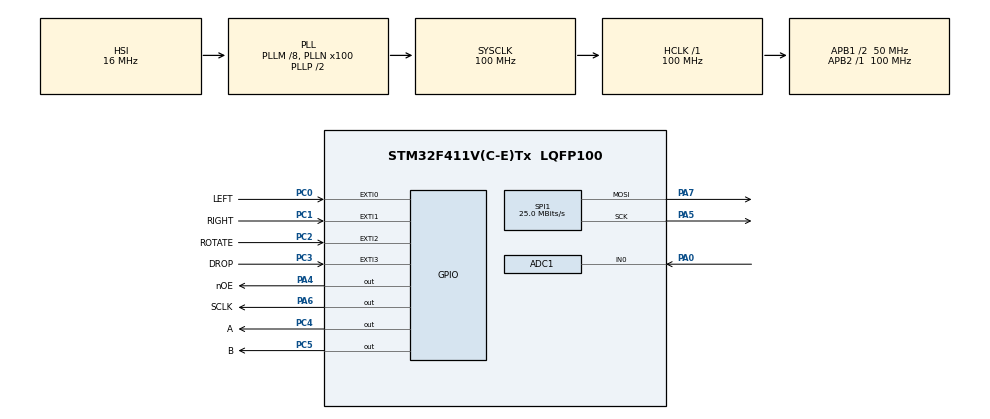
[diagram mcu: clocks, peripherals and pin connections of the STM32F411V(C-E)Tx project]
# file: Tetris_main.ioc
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ADC1.Channel-1\#ChannelRegularConversion=ADC_CHANNEL_0
ADC1.NbrOfConversionFlag=1
ADC1.Rank-1\#ChannelRegularConversion=1
ADC1.Resolution=ADC_RESOLUTION_12B
ADC1.SamplingTime-1\#ChannelRegularConversion=ADC_SAMPLETIME_3CYCLES
ADC1.master=1
Mcu.Family=STM32F4
Mcu.Name=STM32F411V(C-E)Tx
Mcu.Package=LQFP100
NVIC.EXTI0_IRQn=true\:0\:0\:false\:false\:true\:true\:true\:true
NVIC.EXTI1_IRQn=true\:0\:0\:false\:false\:true\:true\:true\:true
NVIC.EXTI2_IRQn=true\:0\:0\:false\:false\:true\:true\:true\:true
NVIC.EXTI3_IRQn=true\:0\:0\:false\:false\:true\:true\:true\:true
NVIC.PriorityGroup=NVIC_PRIORITYGROUP_4
NVIC.TIM3_IRQn=true\:0\:0\:false\:false\:true\:true\:true\:true
PA0-WKUP.Signal=ADCx_IN0
PA13.Mode=Serial_Wire
PA13.Signal=SYS_JTMS-SWDIO
PA14.Mode=Serial_Wire
PA14.Signal=SYS_JTCK-SWCLK
PA4.GPIO_Label=nOE
PA4.GPIO_Speed=GPIO_SPEED_FREQ_VERY_HIGH
PA4.Signal=GPIO_Output
PA5.Mode=TX_Only_Simplex_Unidirect_Master
PA5.Signal=SPI1_SCK
PA6.GPIO_Label=SCLK
PA6.GPIO_Speed=GPIO_SPEED_FREQ_VERY_HIGH
PA6.Signal=GPIO_Output
PA7.Mode=TX_Only_Simplex_Unidirect_Master
PA7.Signal=SPI1_MOSI
PC0.GPIO_Label=LEFT
PC0.Signal=GPXTI0
PC1.GPIO_Label=RIGHT
PC1.Signal=GPXTI1
PC2.GPIO_Label=ROTATE
PC2.Signal=GPXTI2
PC3.GPIO_Label=DROP
PC3.Signal=GPXTI3
PC4.GPIO_Label=A
PC4.Signal=GPIO_Output
PC5.GPIO_Label=B
PC5.Signal=GPIO_Output
PH0\ -\ OSC_IN.Mode=HSE-External-Oscillator
PH0\ -\ OSC_IN.Signal=RCC_OSC_IN
PH1\ -\ OSC_OUT.Mode=HSE-External-Oscillator
PH1\ -\ OSC_OUT.Signal=RCC_OSC_OUT
ProjectManager.HeapSize=0x200
ProjectManager.StackSize=0x400
ProjectManager.TargetToolchain=STM32CubeIDE
RCC.48MHZClocksFreq_Value=50000000
RCC.AHBFreq_Value=100000000
RCC.APB1CLKDivider=RCC_HCLK_DIV2
RCC.APB1Freq_Value=50000000
RCC.APB1TimFreq_Value=100000000
RCC.APB2Freq_Value=100000000
RCC.APB2TimFreq_Value=100000000
RCC.CortexFreq_Value=100000000
RCC.HCLKFreq_Value=100000000
RCC.HSE_VALUE=25000000
RCC.HSI_VALUE=16000000
RCC.LSE_VALUE=32768
RCC.PLLM=8
RCC.PLLN=100
RCC.SYSCLKFreq_VALUE=100000000
RCC.SYSCLKSource=RCC_SYSCLKSOURCE_PLLCLK
RCC.VCOOutputFreq_Value=200000000
SH.ADCx_IN0.0=ADC1_IN0,IN0
SPI1.BaudRatePrescaler=SPI_BAUDRATEPRESCALER_4
SPI1.CalculateBaudRate=25.0 MBits/s
SPI1.Direction=SPI_DIRECTION_2LINES
SPI1.Mode=SPI_MODE_MASTER
SPI1.VirtualType=VM_MASTER
TIM3.Channel-Output\ Compare1\ No\ Output=TIM_CHANNEL_1
TIM3.Period=10000/3-1
TIM3.Prescaler=10000-1
VP_TIM3_VS_ClockSourceINT.Mode=Internal
VP_TIM3_VS_no_output1.Mode=Output Compare1 No Output
board=custom

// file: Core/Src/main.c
/* USER CODE BEGIN Header */
/**
  ******************************************************************************
  * @file           : main.c
  * @brief          : Main program body
  ******************************************************************************
  * @attention
  *
  * <h2><center>&copy; Copyright (c) 2022 STMicroelectronics.
  * All rights reserved.</center></h2>
  *
  * This software component is licensed by ST under BSD 3-Clause license,
  * the "License"; You may not use this file except in compliance with the
  * License. You may obtain a copy of the License at:
  *                        opensource.org/licenses/BSD-3-Clause
  *
  ******************************************************************************
  */
/* USER CODE END Header */
#include "main.h"
#include "adc.h"
#include "spi.h"
#include "tim.h"
#include "gpio.h"

/* USER CODE BEGIN Includes */
#include "disp1color.h"
#include "stdlib.h"
#include "time.h"
/* USER CODE END Includes */

/* USER CODE BEGIN PV */
extern uint8_t data1[16], data2[16], data3[16], data4[16];

volatile int16_t gridX, gridY;
uint8_t grid[8][16];
uint8_t grid_buff[16][8];
char piece_pool[] = {'Z', 'S', 'L', 'J', 'O', 'T', 'I'};
char piece;
uint8_t piece_matrix[4][4];
uint8_t new_turn = 1;
volatile uint8_t moved_down = 0, moved_left = 0, moved_right = 0;
volatile uint8_t rotated, hard_drop;
int8_t i,j;
uint8_t game_over = 0;
uint16_t adc_noise;

uint8_t inside_play_field(){
	return (gridX+i>=0)&&(gridX+i<8)&&(gridY+j<16)&&(gridY+j>=0);
}

void generate_piece(char piece){
	for(i = 0; i < 4;i++){
		for(j = 0; j < 4; j++){
			piece_matrix[i][j] = 0;
		}
	}
	switch (piece){
		case 'Z':{
			piece_matrix[0][1] = 1;
			piece_matrix[1][1] = 1;
			piece_matrix[1][2] = 1;
			piece_matrix[2][2] = 1;
//			 {{0, 0, 0, 0},
//		  	  {1, 1, 0, 0},
//		 	  {0, 1, 1, 0},
//			  {0, 0, 0, 0}};
			break;
		}
		case 'S':{
			piece_matrix[1][1] = 1;
			piece_matrix[2][1] = 1;
			piece_matrix[0][2] = 1;
			piece_matrix[1][2] = 1;
//			 {{0, 0, 0, 0},
//	  		  {0, 1, 1, 0},
//	 		  {1, 1, 0, 0},
// 			  {0, 0, 0, 0}};
		}
			break;
		case 'L':{
			piece_matrix[1][0] = 1;
			piece_matrix[1][1] = 1;
			piece_matrix[1][2] = 1;
			piece_matrix[2][2] = 1;
//			 {{0, 1, 0, 0},
//	  		  {0, 1, 0, 0},
//	 		  {0, 1, 1, 0},
// 			  {0, 0, 0, 0}};
			break;
		}
		case 'J':{
			piece_matrix[2][0] = 1;
			piece_matrix[2][1] = 1;
			piece_matrix[1][2] = 1;
			piece_matrix[2][2] = 1;
//			 {{0, 0, 1, 0},
//	  		  {0, 0, 1, 0},
//	 		  {0, 1, 1, 0},
// 			  {0, 0, 0, 0}};
			break;
		}
		case 'O':{
			piece_matrix[1][1] = 1;
			piece_matrix[2][1] = 1;
			piece_matrix[1][2] = 1;
			piece_matrix[2][2] = 1;
//			 {{0, 0, 0, 0},
//	  		  {0, 1, 1, 0},
//	 		  {0, 1, 1, 0},
// 			  {0, 0, 0, 0}};
			break;
		}
		case 'T':{
			piece_matrix[0][1] = 1;
			piece_matrix[1][1] = 1;
			piece_matrix[2][1] = 1;
			piece_matrix[1][2] = 1;
//			 {{0, 0, 0, 0},
//	  		  {1, 1, 1, 0},
//	 		  {0, 1, 0, 0},
// 			  {0, 0, 0, 0}};
			break;
		}
		case 'I':{
			piece_matrix[1][0] = 1;
			piece_matrix[1][1] = 1;
			piece_matrix[1][2] = 1;
			piece_matrix[1][3] = 1;
//			 {{0, 1, 0, 0},
//	  		  {0, 1, 0, 0},
//	 		  {0, 1, 0, 0},
// 			  {0, 1, 0, 0}};
			break;
		}
	}
}

void rotate_clockwise(uint8_t matrix[4][4])
{
    int i, j, temp;

    // Transpose the matrix in place
    for (i = 0; i < 4; i++) {
        for (j = i + 1; j < 4; j++) {
            temp = matrix[i][j];
            matrix[i][j] = matrix[j][i];
            matrix[j][i] = temp;
        }
    }

    // Reverse the rows of the transposed matrix
    for (i = 0; i < 2; i++) {
        for (j = 0; j < 4; j++) {
            temp = matrix[i][j];
            matrix[i][j] = matrix[3 - i][j];
            matrix[3 - i][j] = temp;
        }
    }
}

void rotate_counter_clockwise(uint8_t matrix[4][4])
{
    int i, j, temp;

    // Reverse the columns of the matrix
    for (i = 0; i < 4; i++) {
        for (j = 0; j < 2; j++) {
            temp = matrix[i][j];
            matrix[i][j] = matrix[i][3 - j];
            matrix[i][3 - j] = temp;
        }
    }

    // Transpose the matrix in place
    for (i = 0; i < 4; i++) {
        for (j = i + 1; j < 4; j++) {
            temp = matrix[i][j];
            matrix[i][j] = matrix[j][i];
            matrix[j][i] = temp;
        }
    }
}

void delete_old_piece(int16_t X, int16_t Y){
	  for(i = 0; i<4; i++){
		  for(j = 0; j<4; j++){
			  if (piece_matrix[i][j]&&inside_play_field());
			  grid[X+i][Y+j] = 0;
	  			  }
	  		  }
}

void disp_row(int row){

	  if (row == 0){

		  		HAL_SPI_Transmit(&hspi1, data1, 16, 10);
		  		while(HAL_SPI_GetState(&hspi1) != HAL_SPI_STATE_READY);

		  HAL_GPIO_WritePin(SCLK_GPIO_Port, SCLK_Pin, GPIO_PIN_RESET);
		  HAL_GPIO_WritePin(SCLK_GPIO_Port, SCLK_Pin, GPIO_PIN_SET);

		  HAL_GPIO_WritePin(A_GPIO_Port, A_Pin, GPIO_PIN_RESET);
		  HAL_GPIO_WritePin(B_GPIO_Port, B_Pin, GPIO_PIN_RESET);
	  }
	  if (row == 1){

	  		HAL_SPI_Transmit(&hspi1, data2, 16, 10);
	  		while(HAL_SPI_GetState(&hspi1) != HAL_SPI_STATE_READY);

		  HAL_GPIO_WritePin(SCLK_GPIO_Port, SCLK_Pin, GPIO_PIN_RESET);
		  HAL_GPIO_WritePin(SCLK_GPIO_Port, SCLK_Pin, GPIO_PIN_SET);

		  HAL_GPIO_WritePin(A_GPIO_Port, A_Pin, GPIO_PIN_SET);
		  HAL_GPIO_WritePin(B_GPIO_Port, B_Pin, GPIO_PIN_RESET);

	  }

	  if (row == 2){

	  		HAL_SPI_Transmit(&hspi1, data3, 16, 10);
	  		while(HAL_SPI_GetState(&hspi1) != HAL_SPI_STATE_READY);

		  HAL_GPIO_WritePin(SCLK_GPIO_Port, SCLK_Pin, GPIO_PIN_RESET);
		  HAL_GPIO_WritePin(SCLK_GPIO_Port, SCLK_Pin, GPIO_PIN_SET);

		  HAL_GPIO_WritePin(A_GPIO_Port, A_Pin, GPIO_PIN_RESET);
		  HAL_GPIO_WritePin(B_GPIO_Port, B_Pin, GPIO_PIN_SET);

	  }

	  if (row == 3){

	  		HAL_SPI_Transmit(&hspi1, data4, 16, 10);
	  		while(HAL_SPI_GetState(&hspi1) != HAL_SPI_STATE_READY);

		  HAL_GPIO_WritePin(SCLK_GPIO_Port, SCLK_Pin, GPIO_PIN_RESET);
		  HAL_GPIO_WritePin(SCLK_GPIO_Port, SCLK_Pin, GPIO_PIN_SET);

		  HAL_GPIO_WritePin(A_GPIO_Port, A_Pin, GPIO_PIN_SET);
		  HAL_GPIO_WritePin(B_GPIO_Port, B_Pin, GPIO_PIN_SET);

	  }

	  HAL_GPIO_WritePin(nOE_GPIO_Port, nOE_Pin, GPIO_PIN_SET);
		  for(uint32_t x=0; x<=500; x++) {};
	 HAL_GPIO_WritePin(nOE_GPIO_Port, nOE_Pin, GPIO_PIN_RESET);
  }

/* USER CODE END PV */

void SystemClock_Config(void);

int main(void)
{

  /* MCU Configuration--------------------------------------------------------*/

  /* Reset of all peripherals, Initializes the Flash interface and the Systick. */
  HAL_Init();

  /* Configure the system clock */
  SystemClock_Config();

  /* Initialize all configured peripherals */
  MX_GPIO_Init();
  MX_SPI1_Init();
  MX_TIM3_Init();
  MX_ADC1_Init();
  /* USER CODE BEGIN 2 */
 HAL_GPIO_WritePin(nOE_GPIO_Port, nOE_Pin, GPIO_PIN_RESET);
 HAL_TIM_Base_Start_IT(&htim3);
 //initialize grid
 for (i = 0; i < 8; i++){
	 for(j = 0; j < 16; j++){
		 grid[i][j] = 0;
	 }
 }
  /* USER CODE END 2 */

  /* Infinite loop */
  while (1)
  {

    /* USER CODE BEGIN 3 */

	  while(!game_over){
		  if(new_turn){
			  //-----------
			  //clear lines
			  //-----------

			  //check for lines to clear
			  uint8_t line_to_clear[16];
			  uint8_t temp_line = 1;
			  for(j = 0; j < 16; j++){
				  for(i = 0; i < 8; i++){
					  temp_line = temp_line*grid[i][j];
				  }
				  if (temp_line) line_to_clear[j] = 1;
				  else line_to_clear[j] = 0;
				  temp_line = 1;
			  }

			  //delete lines on grid
			  for (int8_t line = 15; line >= 0; line--){
				  if(line_to_clear[line]){
					for(j = line; j >= 0; j--){
					  for(i = 0; i < 8; i++){
						  if (j == 0) grid[i][j] = 0;
						  else grid[i][j] = grid[i][j-1];
					  }
					}

					//move everything down
					for(int8_t line_fix = 15; line_fix >= 0; line_fix--){
						if (line_fix == 0) line_to_clear[line_fix] = 0;
						else line_to_clear[line_fix] = line_to_clear[line_fix-1];
					}

					if(line_to_clear[line]) line++;
				  }
			  }

			  HAL_ADC_Start(&hadc1);
			  HAL_ADC_PollForConversion(&hadc1, 1);
			  adc_noise = HAL_ADC_GetValue(&hadc1);
			  piece = piece_pool[(rand()+adc_noise)%7];
			  generate_piece(piece);
			  gridX = 2;
			  gridY = -3;
			  new_turn = 0;
			  moved_down = 0;
			  moved_left = 0;
			  moved_right = 0;
			  hard_drop = 0;
		  }

		  //check for every event
		  if(moved_down){
			  //check for collision with grid
						uint8_t floor_collided = 0;
						for(i = 0; i < 4; i++){
							for(j= 0; j < 4; j++){
								if (gridY + j >= 16) floor_collided += piece_matrix[i][j]*1;
								else if (inside_play_field())
									floor_collided += piece_matrix[i][j]*grid[gridX+i][gridY+j];
								if((piece_matrix[i][j] && grid[gridX+i][gridY+j]) && (gridY+j == 0))
									game_over = 1;
							}
						}
						if (floor_collided) {
							new_turn = 1;
							gridY--;
							//save grid
							  for(i = 0; i<4; i++){
								  for(j = 0; j<4; j++){
									  if(inside_play_field())
										  grid[gridX+i][gridY+j] = grid[gridX+i][gridY+j]||piece_matrix[i][j];
								  }
							  }
						}
			  moved_down = 0;
		  }

		  if(hard_drop){
			  //move piece down until collided
			  	uint8_t floor_collided = 0;
			  	while(!floor_collided){
				  gridY++;
				  for(i = 0; i < 4; i++){
					  for(j= 0; j < 4; j++){
							if (gridY + j >= 16) floor_collided += piece_matrix[i][j]*1;
							else if (inside_play_field())
								floor_collided += piece_matrix[i][j]*grid[gridX+i][gridY+j];
							if((piece_matrix[i][j] && grid[gridX+i][gridY+j]) && (gridY+j == 0))
								game_over = 1;
					  }
				  }
			  	}
			  	new_turn = 1;
				gridY--;
				//save grid
				  for(i = 0; i<4; i++){
					  for(j = 0; j<4; j++){
						  if(inside_play_field())
						  grid[gridX+i][gridY+j] = grid[gridX+i][gridY+j]||piece_matrix[i][j];
					  }
				  }
				hard_drop = 0;
		  }

		  if(moved_left){
			  //check for collision with anything on the left
				uint8_t left_wall_collided = 0;
				for(i = 0; i < 4; i++){
					for(j= 0; j < 4; j++){
						if (gridX + i < 0)
							left_wall_collided += piece_matrix[i][j]*1;
						else if (inside_play_field())
							left_wall_collided += piece_matrix[i][j]*grid[gridX+i][gridY+j];
					}
				}
				if (left_wall_collided) {
					gridX++;
				}
			  moved_left = 0;
		  }

		  if(moved_right){
			  //check for collision with right wall
				uint8_t right_wall_collided = 0;
				for(i = 0; i < 4; i++){
					for(j= 0; j < 4; j++){
						if (gridX + i >= 8)
							right_wall_collided += piece_matrix[i][j]*1;
						else if (inside_play_field())
							right_wall_collided += piece_matrix[i][j]*grid[gridX+i][gridY+j];
					}
				}
				if (right_wall_collided) {
					gridX--;
				}
			  moved_right = 0;
		  }

		  if(rotated){
			  //create a temporary copy
			  uint8_t temp[4][4];
			  for(i = 0; i < 4; i++){
				  for(j = 0; j < 4; j++){
					  temp[i][j] = piece_matrix[i][j];
				  }
			  }
			  rotate_clockwise(piece_matrix);
			  //check for all collisions
				uint8_t collided = 0;
				for(i = 0; i < 4; i++){
					for(j= 0; j < 4; j++){
						if ((gridX + i >= 8) || (gridX + i < 0) || (gridY + j < 0) || (gridY + j >= 16))
							collided += piece_matrix[i][j]*1;
						else if (inside_play_field())
							collided += piece_matrix[i][j]*grid[gridX+i][gridY+j];
					}
				}
				if (collided) {
					//roll back piece matrix
					for(i = 0; i < 4; i++){
						  for(j = 0; j < 4; j++){
							  piece_matrix[i][j] = temp[i][j];
						  }
					}
					rotate_counter_clockwise(piece_matrix);
					//check for all collisions again
						uint8_t collided = 0;
						for(i = 0; i < 4; i++){
							for(j= 0; j < 4; j++){
								if ((gridX + i >= 8) || (gridX + i < 0) || (gridY + j >= 16))
									collided += piece_matrix[i][j]*1;
								else if (inside_play_field())
									collided += piece_matrix[i][j]*grid[gridX+i][gridY+j];
							}
						}
						if (collided){
							//roll back piece matrix
							for(i = 0; i < 4; i++){
								  for(j = 0; j < 4; j++){
									  piece_matrix[i][j] = temp[i][j];
								  }
							}
						}
				}
			  rotated = 0;

		  }

		  //create temporary grid for buffering
		  uint8_t temp_grid[8][16];
		  for(i = 0; i < 8; i++){
			  for(j = 0; j < 16; j++){
				  temp_grid[i][j] = grid[i][j];
			  }
		  }
		  //setting current piece's place on temp grid
		  for(i = 0; i<4; i++){
			  for(j = 0; j<4; j++){
				  if(inside_play_field())
				  temp_grid[gridX+i][gridY+j] = temp_grid[gridX+i][gridY+j]||piece_matrix[i][j];
			  }
		  }
		  //transpose the temp grid matrix for buffering
		  for(i = 0; i < 8; i++){
			  for(j = 0; j < 16; j++){
				  grid_buff[j][i] = temp_grid[i][j];
			  }
		  }
		  //reverse the y axis of transposed matrix
		  for(i = 0; i < 16; i++){
			  for(j = 0; j < 4; j++){
				  uint8_t temp = grid_buff[i][j];
				  grid_buff[i][j] = grid_buff[i][7-j];
				  grid_buff[i][7-j] = temp;
			  }
		  }

		//  draw pixels on the display buffer
		  disp1color_FillScreenbuff(0);
		  for(int16_t dot_x = 0; dot_x < 16; dot_x++){
			  for(int16_t dot_y = 0; dot_y < 8; dot_y++){
				  if (grid_buff[dot_x][dot_y])
				  disp1color_DrawRectangle(2*dot_x, 2*dot_y, 2*dot_x + 1, 2*dot_y + 1);
			  }
		  }

	//	  	  disp1color_DrawRectangle(5,5,10,10);
			  disp1color_UpdateFromBuff();
			  prepare_data();

			  disp_row(0);
			  disp_row(1);
			  disp_row(2);
			  disp_row(3);

	  }
	  //clear grid
	  for(i = 0; i < 8; i++){
		  for(j = 0; j < 16; j++){
			  grid[i][j] = 0;
		  }
	  }
	  HAL_Delay(3000);
	  new_turn = 1;
	  game_over = 0;
  }
  /* USER CODE END 3 */
}

void SystemClock_Config(void)
{
  RCC_OscInitTypeDef RCC_OscInitStruct = {0};
  RCC_ClkInitTypeDef RCC_ClkInitStruct = {0};

  /** Configure the main internal regulator output voltage
  */
  __HAL_RCC_PWR_CLK_ENABLE();
  __HAL_PWR_VOLTAGESCALING_CONFIG(PWR_REGULATOR_VOLTAGE_SCALE1);

  /** Initializes the RCC Oscillators according to the specified parameters
  * in the RCC_OscInitTypeDef structure.
  */
  RCC_OscInitStruct.OscillatorType = RCC_OSCILLATORTYPE_HSI;
  RCC_OscInitStruct.HSIState = RCC_HSI_ON;
  RCC_OscInitStruct.HSICalibrationValue = RCC_HSICALIBRATION_DEFAULT;
  RCC_OscInitStruct.PLL.PLLState = RCC_PLL_ON;
  RCC_OscInitStruct.PLL.PLLSource = RCC_PLLSOURCE_HSI;
  RCC_OscInitStruct.PLL.PLLM = 8;
  RCC_OscInitStruct.PLL.PLLN = 100;
  RCC_OscInitStruct.PLL.PLLP = RCC_PLLP_DIV2;
  RCC_OscInitStruct.PLL.PLLQ = 4;
  if (HAL_RCC_OscConfig(&RCC_OscInitStruct) != HAL_OK)
  {
    Error_Handler();
  }

  /** Initializes the CPU, AHB and APB buses clocks
  */
  RCC_ClkInitStruct.ClockType = RCC_CLOCKTYPE_HCLK|RCC_CLOCKTYPE_SYSCLK
                              |RCC_CLOCKTYPE_PCLK1|RCC_CLOCKTYPE_PCLK2;
  RCC_ClkInitStruct.SYSCLKSource = RCC_SYSCLKSOURCE_PLLCLK;
  RCC_ClkInitStruct.AHBCLKDivider = RCC_SYSCLK_DIV1;
  RCC_ClkInitStruct.APB1CLKDivider = RCC_HCLK_DIV2;
  RCC_ClkInitStruct.APB2CLKDivider = RCC_HCLK_DIV1;

  if (HAL_RCC_ClockConfig(&RCC_ClkInitStruct, FLASH_LATENCY_3) != HAL_OK)
  {
    Error_Handler();
  }
}

void Error_Handler(void)
{
  __disable_irq();
  while (1)
  {
  }
}
